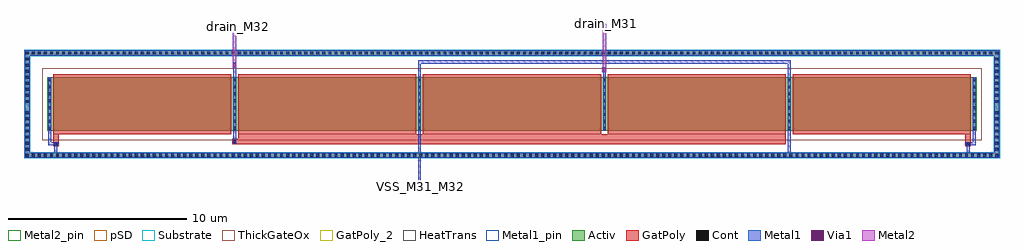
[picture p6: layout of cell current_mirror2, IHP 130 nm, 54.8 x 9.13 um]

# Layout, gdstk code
from math import pi, radians
import gdstk
lib = gdstk.Library(unit=1e-6, precision=5e-09)
def R(c, l, rs):  # rectangles x0, y0, x1, y1
    for r in rs: c.add(gdstk.rectangle(r[:2], r[2:], *l))
def A(c, l, x, y, w, h, nx, ny, dx, dy):  # array of equal rectangles
    R(c, l, [(x+i*dx, y+j*dy, x+i*dx+w, y+j*dy+h) for i in range(nx) for j in range(ny)])
def P(c, l, *ps):  # polygons
    for p in ps: c.add(gdstk.Polygon(p, *l))
Activ = (1, 0)
GatPoly = (5, 0)
GatPoly_2 = (5, 2)
Cont = (6, 0)
Metal1 = (8, 0)
Metal1_pin = (8, 2)
Metal2 = (10, 0)
Metal2_pin = (10, 2)
pSD = (14, 0)
Via1 = (19, 0)
Substrate = (40, 0)
ThickGateOx = (44, 0)
HeatTrans = (51, 0)

via_stack_5 = lib.new_cell('via_stack$5')
R(via_stack_5, GatPoly, [(-0.15,-0.15,0.15,0.15)])
R(via_stack_5, Cont, [(-0.08,-0.08,0.08,0.08)])
R(via_stack_5, Metal1, [(-0.13,-0.08,0.13,0.08)])

nmoshv = lib.new_cell('nmosHV')
A(nmoshv, Activ, 0, 0, 0.3, 0.3, 6, 1, 10.38, 0)
R(nmoshv, Activ, [(-1.27,-1.22,-0.97,4.22), (53.17,-1.22,53.47,4.22), (0,0,52.2,3), (-1.27,4.22,53.47,4.52)])
P(nmoshv, Activ, [(-1.27,-1.52),(-1.27,4.22),(-0.97,4.22),(-0.97,-1.22),(53.17,-1.22),(53.17,4.22),(-1.27,4.22),(-1.27,4.52),(53.47,4.52),(53.47,-1.52)])
A(nmoshv, GatPoly, 0.34, -0.18, 10, 3.36, 5, 1, 10.38, 0)
R(nmoshv, GatPoly_2, [(0.34,-0.18,10.34,3.18)])
A(nmoshv, Cont, -1.2, -1.45, 0.16, 0.16, 80, 2, 0.34, 5.74)
A(nmoshv, Cont, 26.04, -1.45, 0.16, 0.16, 81, 2, 0.34, 5.74)
A(nmoshv, Cont, -1.2, -1.11, 0.16, 0.16, 1, 7, 0, 0.34)
A(nmoshv, Cont, 53.24, -1.11, 0.16, 0.16, 1, 7, 0, 0.34)
A(nmoshv, Cont, 0.07, 0.07, 0.16, 0.16, 6, 7, 10.38, 0.385)
A(nmoshv, Cont, -1.2, 1.57, 0.16, 0.16, 1, 8, 0, 0.34)
A(nmoshv, Cont, 53.24, 1.57, 0.16, 0.16, 1, 8, 0, 0.34)
A(nmoshv, Cont, 0.07, 2.77, 0.16, 0.16, 6, 1, 10.38, 0)
A(nmoshv, Metal1, 0.07, 0, 0.16, 3, 6, 1, 10.38, 0)
R(nmoshv, Metal1, [(-1.27,-1.52,53.47,-1.22), (-1.27,-1.22,-0.97,4.22), (53.17,-1.22,53.47,4.22), (-1.27,4.22,53.47,4.52)])
R(nmoshv, Metal1_pin, [(0.07,0,0.23,3), (10.45,0,10.61,3)])
R(nmoshv, pSD, [(-1.3,-1.19,-0.94,4.19), (53.14,-1.19,53.5,4.19), (-1.3,4.19,53.5,4.55)])
P(nmoshv, pSD, [(-1.3,-1.55),(-1.3,4.19),(-0.94,4.19),(-0.94,-1.19),(53.14,-1.19),(53.14,4.19),(-1.3,4.19),(-1.3,4.55),(53.5,4.55),(53.5,-1.55)])
R(nmoshv, Substrate, [(-1.3,-1.19,-0.94,4.19), (53.14,-1.19,53.5,4.19), (-1.3,4.19,53.5,4.55)])
P(nmoshv, Substrate, [(-1.3,-1.55),(-1.3,4.19),(-0.94,4.19),(-0.94,-1.19),(53.14,-1.19),(53.14,4.19),(-1.3,4.19),(-1.3,4.55),(53.5,4.55),(53.5,-1.55)])
R(nmoshv, ThickGateOx, [(-0.27,-0.52,52.47,3.52)])
A(nmoshv, HeatTrans, 0.34, -0.18, 10, 3.36, 5, 1, 10.38, 0)
nmoshv.add(gdstk.Label('nmosHV', (5.34,1.5), layer=63, texttype=0))
nmoshv.add(gdstk.Label('sub!', (26.1,-1.37), layer=63, texttype=0))
nmoshv.add(gdstk.Label('nmosHV', (5.34,1.5), layer=51, texttype=0))
nmoshv.add(gdstk.Label('nmosHV', (15.72,1.5), layer=51, texttype=0))
nmoshv.add(gdstk.Label('nmosHV', (26.1,1.5), layer=51, texttype=0))
nmoshv.add(gdstk.Label('nmosHV', (36.48,1.5), layer=51, texttype=0))
nmoshv.add(gdstk.Label('nmosHV', (46.86,1.5), layer=51, texttype=0))

via_stack = lib.new_cell('via_stack')
R(via_stack, Metal1, [(-0.145,-0.105,0.145,0.105)])
R(via_stack, Metal2, [(-0.145,-0.1,0.145,0.1)])
R(via_stack, Via1, [(-0.095,-0.095,0.095,0.095)])

current_mirror2 = lib.new_cell('current_mirror2')
R(current_mirror2, GatPoly, [(-11.475,-0.645,-11.175,0.05), (39.745,-0.645,40.045,0.05), (-1.435,-0.525,-1.095,-0.225), (-1.095,-0.525,29.665,0.05)])
R(current_mirror2, Metal1, [(9.015,-2.885,9.175,0.23), (-11.405,-1.29,-11.245,-0.575), (29.775,-1.29,29.935,0.23), (39.815,-1.29,39.975,-0.575), (-11.745,-0.575,-11.195,-0.415), (-11.745,-0.575,-11.585,0.23), (39.765,-0.575,40.315,-0.415), (40.155,-0.575,40.315,0.23), (-1.365,-0.505,-1.205,0.23), (-1.365,3.23,-1.205,4.085), (9.015,3.23,9.175,4.205), (19.395,3.23,19.555,3.81), (29.775,3.23,29.935,4.205), (9.015,4,29.935,4.205)])
R(current_mirror2, Metal1_pin, [(9.015,-2.885,9.175,-2.725)])
R(current_mirror2, Metal2, [(19.37,3.52,19.57,3.81), (19.37,3.52,19.57,6.245), (-1.39,3.795,-1.19,4.085), (-1.39,3.795,-1.19,6.195)])
R(current_mirror2, Metal2_pin, [(19.37,6.02,19.57,6.245)])
P(current_mirror2, Metal2_pin, [(-1.39,5.97),(-1.39,6.195),(-1.27,6.195),(-1.19,6.195),(-1.19,5.97),(-1.245,5.97)])
current_mirror2.add(gdstk.Reference(via_stack_5, (39.895,-0.495)))
current_mirror2.add(gdstk.Reference(nmoshv, (-11.815,0.23)))
current_mirror2.add(gdstk.Reference(via_stack_5, (-11.325,-0.495), rotation=pi, x_reflection=True))
current_mirror2.add(gdstk.Reference(via_stack_5, (-1.285,-0.375), rotation=3*pi/2))
current_mirror2.add(gdstk.Reference(via_stack, (19.47,3.665), rotation=3*pi/2))
current_mirror2.add(gdstk.Reference(via_stack, (-1.29,3.94), rotation=3*pi/2))
current_mirror2.add(gdstk.Label('VSS_M31_M32', (9.17,-2.89), layer=8, texttype=0))
current_mirror2.add(gdstk.Label('drain_M31', (19.575,6.23), layer=10, texttype=0))
current_mirror2.add(gdstk.Label('drain_M32', (-1.095,6.1), layer=10, texttype=0))

lib.write_gds('current_mirror2.gds')
